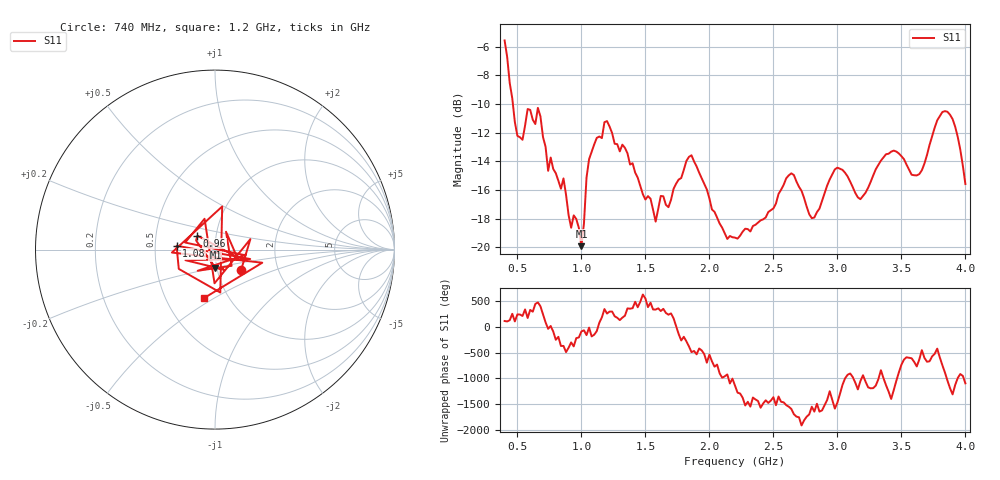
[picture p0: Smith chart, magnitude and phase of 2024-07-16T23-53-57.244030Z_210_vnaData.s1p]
!Created with skrf (http://scikit-rf.org).
# Hz S RI R 50.0
!freq ReS11 ImS11
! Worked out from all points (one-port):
!   181 points, 400 MHz to 4 GHz, reference 50 ohm
!   lowest |S11| = -19.9 dB at 1 GHz (marker M1), VSWR 1.22, Z = 49.2 - j10 ohm
!   |S11| at or under -10 dB: 464.8 MHz to end of sweep
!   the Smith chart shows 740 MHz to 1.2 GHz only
!   S11 on the Smith chart (normalised r, x): 740 MHz: 1.30, -0.31; 960 MHz: 0.81, +0.13; 1.08 GHz: 0.65, +0.03; 1.2 GHz: 0.77, -0.45
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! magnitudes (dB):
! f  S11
! 400 MHz  -5.6
! 500 MHz  -12.2
! 660 MHz  -10.3
! 740 MHz  -14.7
! 860 MHz  -15.2
! 920 MHz  -18.6
! 960 MHz  -18.0
! 1 GHz  -19.9
! 1.04 GHz  -15.1
! 1.08 GHz  -13.3
! 1.2 GHz  -11.2
! 1.3 GHz  -13.3
! 1.58 GHz  -18.2
! 1.62 GHz  -16.4
! 1.76 GHz  -15.3
! 1.86 GHz  -13.6
! 2.2 GHz  -19.3
! 2.66 GHz  -15.0
! 2.8 GHz  -18.0
! 2.98 GHz  -14.6
! 3.1 GHz  -15.4
! 3.18 GHz  -16.6
! 3.44 GHz  -13.3
! 3.56 GHz  -14.6
! 3.66 GHz  -14.6
! 3.84 GHz  -10.5
! 3.92 GHz  -11.6
! 4 GHz  -15.6
